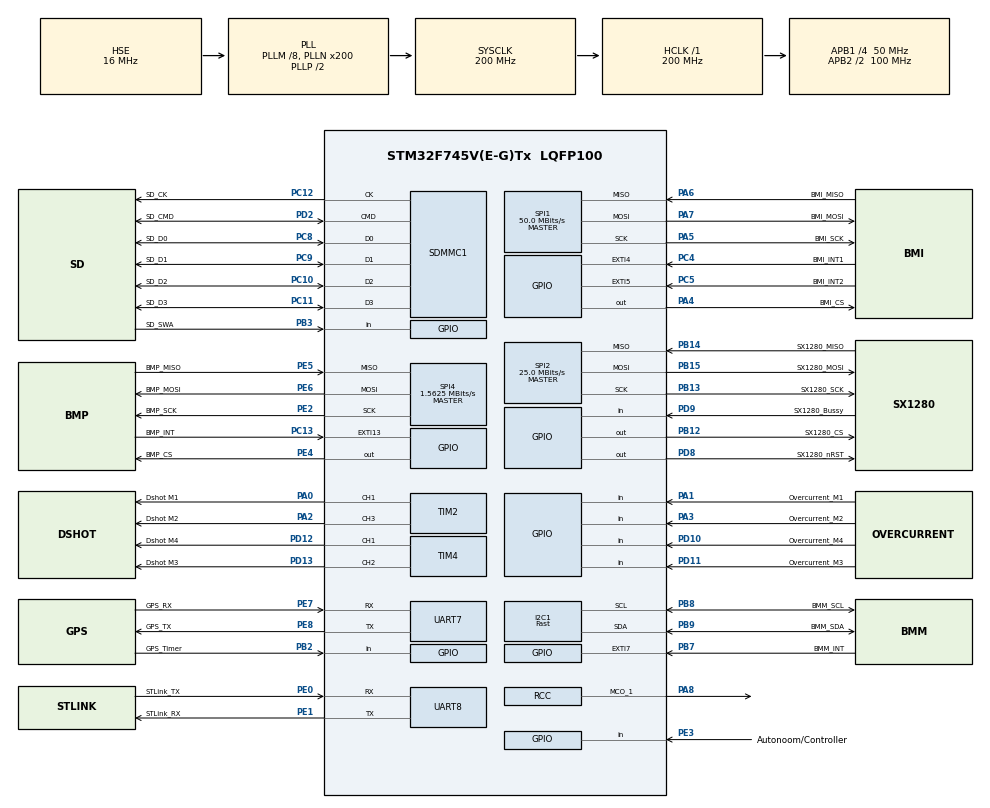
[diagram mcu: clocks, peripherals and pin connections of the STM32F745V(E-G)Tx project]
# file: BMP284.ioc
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CORTEX_M7.default_mode_Activation=1
Dma.Request0=TIM4_CH1
Dma.Request1=TIM4_CH2
Dma.Request2=TIM2_UP/CH3
Dma.Request3=TIM2_CH1
Dma.TIM2_CH1.3.Direction=DMA_MEMORY_TO_PERIPH
Dma.TIM2_CH1.3.FIFOMode=DMA_FIFOMODE_DISABLE
Dma.TIM2_CH1.3.Instance=DMA1_Stream5
Dma.TIM2_CH1.3.MemDataAlignment=DMA_MDATAALIGN_WORD
Dma.TIM2_CH1.3.MemInc=DMA_MINC_ENABLE
Dma.TIM2_CH1.3.Mode=DMA_NORMAL
Dma.TIM2_CH1.3.PeriphDataAlignment=DMA_PDATAALIGN_WORD
Dma.TIM2_CH1.3.PeriphInc=DMA_PINC_DISABLE
Dma.TIM2_CH1.3.Priority=DMA_PRIORITY_VERY_HIGH
Dma.TIM2_UP/CH3.2.Direction=DMA_MEMORY_TO_PERIPH
Dma.TIM2_UP/CH3.2.FIFOMode=DMA_FIFOMODE_DISABLE
Dma.TIM2_UP/CH3.2.Instance=DMA1_Stream1
Dma.TIM2_UP/CH3.2.MemDataAlignment=DMA_MDATAALIGN_WORD
Dma.TIM2_UP/CH3.2.MemInc=DMA_MINC_ENABLE
Dma.TIM2_UP/CH3.2.Mode=DMA_NORMAL
Dma.TIM2_UP/CH3.2.PeriphDataAlignment=DMA_PDATAALIGN_WORD
Dma.TIM2_UP/CH3.2.PeriphInc=DMA_PINC_DISABLE
Dma.TIM2_UP/CH3.2.Priority=DMA_PRIORITY_VERY_HIGH
Dma.TIM4_CH1.0.Direction=DMA_MEMORY_TO_PERIPH
Dma.TIM4_CH1.0.FIFOMode=DMA_FIFOMODE_DISABLE
Dma.TIM4_CH1.0.Instance=DMA1_Stream0
Dma.TIM4_CH1.0.MemDataAlignment=DMA_MDATAALIGN_HALFWORD
Dma.TIM4_CH1.0.MemInc=DMA_MINC_ENABLE
Dma.TIM4_CH1.0.Mode=DMA_NORMAL
Dma.TIM4_CH1.0.PeriphDataAlignment=DMA_PDATAALIGN_HALFWORD
Dma.TIM4_CH1.0.PeriphInc=DMA_PINC_DISABLE
Dma.TIM4_CH1.0.Priority=DMA_PRIORITY_VERY_HIGH
Dma.TIM4_CH2.1.Direction=DMA_MEMORY_TO_PERIPH
Dma.TIM4_CH2.1.FIFOMode=DMA_FIFOMODE_DISABLE
Dma.TIM4_CH2.1.Instance=DMA1_Stream3
Dma.TIM4_CH2.1.MemDataAlignment=DMA_MDATAALIGN_HALFWORD
Dma.TIM4_CH2.1.MemInc=DMA_MINC_ENABLE
Dma.TIM4_CH2.1.Mode=DMA_NORMAL
Dma.TIM4_CH2.1.PeriphDataAlignment=DMA_PDATAALIGN_HALFWORD
Dma.TIM4_CH2.1.PeriphInc=DMA_PINC_DISABLE
Dma.TIM4_CH2.1.Priority=DMA_PRIORITY_VERY_HIGH
FATFS.BSP.number=1
FATFS0.BSP.STBoard=false
FATFS0.BSP.api=Unknown
FATFS0.BSP.instance=PB3
FATFS0.BSP.ip=GPIO
FATFS0.BSP.mode=Input
FATFS0.BSP.name=Detect_SDIO
FATFS0.BSP.solution=PB3
I2C1.I2C_Speed_Mode=I2C_Fast
I2C1.Timing=0x00401959
Mcu.Family=STM32F7
Mcu.Name=STM32F745V(E-G)Tx
Mcu.Package=LQFP100
NVIC.DMA1_Stream0_IRQn=true\:0\:0\:false\:false\:true\:false\:true\:true
NVIC.DMA1_Stream1_IRQn=true\:0\:0\:false\:false\:true\:false\:true\:true
NVIC.DMA1_Stream3_IRQn=true\:0\:0\:false\:false\:true\:false\:true\:true
NVIC.DMA1_Stream5_IRQn=true\:0\:0\:false\:false\:true\:false\:true\:true
NVIC.EXTI15_10_IRQn=true\:0\:0\:false\:false\:true\:true\:true\:true
NVIC.EXTI4_IRQn=true\:3\:0\:true\:false\:true\:true\:true\:true
NVIC.EXTI9_5_IRQn=true\:3\:0\:true\:false\:true\:true\:true\:true
NVIC.PriorityGroup=NVIC_PRIORITYGROUP_4
PA0/WKUP.GPIO_Label=Dshot M1
PA0/WKUP.Signal=S_TIM2_CH1_ETR
PA1.GPIO_Label=Overcurrent_M1
PA1.Signal=GPIO_Input
PA13.GPIO_Label=STLink_DIO
PA13.Mode=Serial_Wire
PA13.Signal=SYS_JTMS-SWDIO
PA14.GPIO_Label=STLink_CLK
PA14.Mode=Serial_Wire
PA14.Signal=SYS_JTCK-SWCLK
PA2.GPIO_Label=Dshot M2
PA2.Signal=S_TIM2_CH3
PA3.GPIO_Label=Overcurrent_M2
PA3.Signal=GPIO_Input
PA4.GPIO_Label=BMI_CS
PA4.Signal=GPIO_Output
PA5.GPIO_Label=BMI_SCK
PA5.Mode=Full_Duplex_Master
PA5.Signal=SPI1_SCK
PA6.GPIO_Label=BMI_MISO
PA6.Mode=Full_Duplex_Master
PA6.Signal=SPI1_MISO
PA7.GPIO_Label=BMI_MOSI
PA7.Mode=Full_Duplex_Master
PA7.Signal=SPI1_MOSI
PA8.Mode=Clock-out-1
PA8.Signal=RCC_MCO_1
PB12.GPIO_Label=SX1280_CS
PB12.Signal=GPIO_Output
PB13.GPIO_Label=SX1280_SCK
PB13.Mode=Full_Duplex_Master
PB13.Signal=SPI2_SCK
PB14.GPIO_Label=SX1280_MISO
PB14.Mode=Full_Duplex_Master
PB14.Signal=SPI2_MISO
PB15.GPIO_Label=SX1280_MOSI
PB15.Mode=Full_Duplex_Master
PB15.Signal=SPI2_MOSI
PB2.GPIO_Label=GPS_Timer
PB2.Signal=GPIO_Input
PB3.GPIO_Label=SD_SWA
PB3.Signal=GPIO_Input
PB7.GPIO_Label=BMM_INT
PB7.Signal=GPXTI7
PB8.GPIO_Label=BMM_SCL
PB8.Mode=I2C
PB8.Signal=I2C1_SCL
PB9.GPIO_Label=BMM_SDA
PB9.Mode=I2C
PB9.Signal=I2C1_SDA
PC10.GPIO_Label=SD_D2
PC10.Mode=SD_4_bits_Wide_bus
PC10.Signal=SDMMC1_D2
PC11.GPIO_Label=SD_D3
PC11.Mode=SD_4_bits_Wide_bus
PC11.Signal=SDMMC1_D3
PC12.GPIO_Label=SD_CK
PC12.Mode=SD_4_bits_Wide_bus
PC12.Signal=SDMMC1_CK
PC13.GPIO_Label=BMP_INT
PC13.Signal=GPXTI13
PC14/OSC32_IN.Mode=LSE-External-Oscillator
PC14/OSC32_IN.Signal=RCC_OSC32_IN
PC15/OSC32_OUT.Mode=LSE-External-Oscillator
PC15/OSC32_OUT.Signal=RCC_OSC32_OUT
PC4.GPIO_Label=BMI_INT1
PC4.Signal=GPXTI4
PC5.GPIO_Label=BMI_INT2
PC5.Signal=GPXTI5
PC8.GPIO_Label=SD_D0
PC8.Mode=SD_4_bits_Wide_bus
PC8.Signal=SDMMC1_D0
PC9.GPIO_Label=SD_D1
PC9.Mode=SD_4_bits_Wide_bus
PC9.Signal=SDMMC1_D1
PD10.GPIO_Label=Overcurrent_M4
PD10.Signal=GPIO_Input
PD11.GPIO_Label=Overcurrent_M3
PD11.Signal=GPIO_Input
PD12.GPIO_Label=Dshot M4
PD12.Signal=S_TIM4_CH1
PD13.GPIO_Label=Dshot M3
PD13.Signal=S_TIM4_CH2
PD2.GPIO_Label=SD_CMD
PD2.Mode=SD_4_bits_Wide_bus
PD2.Signal=SDMMC1_CMD
PD8.GPIO_Label=SX1280_nRST
PD8.Signal=GPIO_Output
PD9.GPIO_Label=SX1280_Bussy
PD9.Signal=GPIO_Input
PE0.GPIO_Label=STLink_TX
PE0.Mode=Asynchronous
PE0.Signal=UART8_RX
PE1.GPIO_Label=STLink_RX
PE1.Mode=Asynchronous
PE1.Signal=UART8_TX
PE2.GPIO_Label=BMP_SCK
PE2.Mode=Full_Duplex_Master
PE2.Signal=SPI4_SCK
PE3.GPIO_Label=Autonoom/Controller
PE3.Signal=GPIO_Input
PE4.GPIO_Label=BMP_CS
PE4.Signal=GPIO_Output
PE5.GPIO_Label=BMP_MISO
PE5.Mode=Full_Duplex_Master
PE5.Signal=SPI4_MISO
PE6.GPIO_Label=BMP_MOSI
PE6.Mode=Full_Duplex_Master
PE6.Signal=SPI4_MOSI
PE7.GPIO_Label=GPS_RX
PE7.Mode=Asynchronous
PE7.Signal=UART7_RX
PE8.GPIO_Label=GPS_TX
PE8.Mode=Asynchronous
PE8.Signal=UART7_TX
PH0/OSC_IN.Mode=HSE-External-Oscillator
PH0/OSC_IN.Signal=RCC_OSC_IN
PH1/OSC_OUT.Mode=HSE-External-Oscillator
PH1/OSC_OUT.Signal=RCC_OSC_OUT
ProjectManager.HeapSize=0x200
ProjectManager.StackSize=0x400
ProjectManager.TargetToolchain=STM32CubeIDE
RCC.AHBFreq_Value=200000000
RCC.APB1CLKDivider=RCC_HCLK_DIV4
RCC.APB1Freq_Value=50000000
RCC.APB1TimFreq_Value=100000000
RCC.APB2CLKDivider=RCC_HCLK_DIV2
RCC.APB2Freq_Value=100000000
RCC.APB2TimFreq_Value=200000000
RCC.CortexFreq_Value=200000000
RCC.HCLKFreq_Value=200000000
RCC.HSE_VALUE=16000000
RCC.HSI_VALUE=16000000
RCC.PLLM=8
RCC.PLLN=200
RCC.PLLQ=8
RCC.PLLSourceVirtual=RCC_PLLSOURCE_HSE
RCC.SDMMCClockSelection=RCC_SDMMC1CLKSOURCE_CLK48
RCC.SYSCLKFreq_VALUE=200000000
RCC.SYSCLKSource=RCC_SYSCLKSOURCE_PLLCLK
RCC.USBFreq_Value=50000000
RCC.VCOOutputFreq_Value=400000000
SDMMC1.ClockBypass=SDMMC_CLOCK_BYPASS_DISABLE
SH.S_TIM2_CH1_ETR.0=TIM2_CH1,PWM Generation1 CH1
SH.S_TIM2_CH3.0=TIM2_CH3,PWM Generation3 CH3
SH.S_TIM4_CH1.0=TIM4_CH1,PWM Generation1 CH1
SH.S_TIM4_CH2.0=TIM4_CH2,PWM Generation2 CH2
SPI1.CLKPhase=SPI_PHASE_2EDGE
SPI1.CLKPolarity=SPI_POLARITY_HIGH
SPI1.CalculateBaudRate=50.0 MBits/s
SPI1.DataSize=SPI_DATASIZE_8BIT
SPI1.Direction=SPI_DIRECTION_2LINES
SPI1.Mode=SPI_MODE_MASTER
SPI1.VirtualType=VM_MASTER
SPI2.BaudRatePrescaler=SPI_BAUDRATEPRESCALER_2
SPI2.CalculateBaudRate=25.0 MBits/s
SPI2.DataSize=SPI_DATASIZE_8BIT
SPI2.Direction=SPI_DIRECTION_2LINES
SPI2.Mode=SPI_MODE_MASTER
SPI2.NSSPMode=SPI_NSS_PULSE_DISABLE
SPI2.VirtualType=VM_MASTER
SPI4.BaudRatePrescaler=SPI_BAUDRATEPRESCALER_64
SPI4.CLKPhase=SPI_PHASE_1EDGE
SPI4.CLKPolarity=SPI_POLARITY_LOW
SPI4.CalculateBaudRate=1.5625 MBits/s
SPI4.DataSize=SPI_DATASIZE_8BIT
SPI4.Direction=SPI_DIRECTION_2LINES
SPI4.Mode=SPI_MODE_MASTER
SPI4.VirtualType=VM_MASTER
TIM2.Channel-PWM\ Generation1\ CH1=TIM_CHANNEL_1
TIM2.Channel-PWM\ Generation3\ CH3=TIM_CHANNEL_3
TIM4.Channel-PWM\ Generation1\ CH1=TIM_CHANNEL_1
TIM4.Channel-PWM\ Generation2\ CH2=TIM_CHANNEL_2
UART8.SwapParam=UART_ADVFEATURE_SWAP_ENABLE
VP_FATFS_VS_SDIO.Mode=SDIO
board=custom

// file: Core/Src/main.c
/* USER CODE BEGIN Header */
/**
  ******************************************************************************
  * @file           : main.c
  * @brief          : Main program body
  ******************************************************************************
  * @attention
  *
  * Copyright (c) 2026 STMicroelectronics.
  * All rights reserved.
  *
  * This software is licensed under terms that can be found in the LICENSE file
  * in the root directory of this software component.
  * If no LICENSE file comes with this software, it is provided AS-IS.
  *
  ******************************************************************************
  */
/* USER CODE END Header */
#include "main.h"
#include "fatfs.h"

/* USER CODE BEGIN Includes */
#include "stdio.h"
//#include "BMP384.h"
//#include "BMM350.h"
//#include "BMI330.h"
//#include "pid_regulator.h"
#include "Flightrun.h"
#include "sdcard.h"
#include "flightplan.h"         /* lezen wat er op een bestand staat  */
#include "flightplan_write.h"   /* een bestand maken en beschrijven   */
/* USER CODE END Includes */

I2C_HandleTypeDef hi2c1;

SD_HandleTypeDef hsd1;

SPI_HandleTypeDef hspi1;
SPI_HandleTypeDef hspi2;
SPI_HandleTypeDef hspi4;

TIM_HandleTypeDef htim2;
TIM_HandleTypeDef htim4;
DMA_HandleTypeDef hdma_tim2_up_ch3;
DMA_HandleTypeDef hdma_tim2_ch1;
DMA_HandleTypeDef hdma_tim4_ch1;
DMA_HandleTypeDef hdma_tim4_ch2;

UART_HandleTypeDef huart7;
UART_HandleTypeDef huart8;

/* USER CODE BEGIN PV */
//BMP384_Calib calibData;
/*
PID_Handle_t struct_PidRateRoll;
PID_Handle_t struct_PidRatePitch;
PID_Handle_t struct_PidRateYaw;
BMM350_MagData BMM350_Data;
BMI330_Frame current_data;
*/

float g_hoogte;
float g_druk;
float g_hoek;
int g_acc;
int g_gyr;
float alpha = 0.98; // hoe hoger hoe meer de acc gaat doortellen
float dt = 0.02;   // voor 50hz
float gefilterde_hoogte = 0;
float verticale_snelheid = 0;
/* USER CODE END PV */

void SystemClock_Config(void);
static void MPU_Config(void);
static void MX_GPIO_Init(void);
static void MX_DMA_Init(void);
static void MX_I2C1_Init(void);
static void MX_SDMMC1_SD_Init(void);
static void MX_SPI1_Init(void);
static void MX_SPI2_Init(void);
static void MX_SPI4_Init(void);
static void MX_TIM2_Init(void);
static void MX_TIM4_Init(void);
static void MX_UART7_Init(void);
static void MX_UART8_Init(void);
/* USER CODE BEGIN PFP */
static void schrijf_vluchtplan(void);
/* USER CODE END PFP */

/* USER CODE BEGIN 0 */

int g_new_pressure_data = 0;

/* ==========================================================================
 * Vluchtplan: schrijven, uitlezen, vliegen
 *
 * Het plan zelf staat hieronder als FlightCmd_t-array. Zet de drie vlaggen
 * naar wat je nu wil doen.
 * ========================================================================== */

/* 1) SCHRIJVEN. Zet het plan hieronder op de SD-kaart. Na de eerste geslaagde
 *    flash+run mag dit op 0, anders wordt de kaart bij elke boot overschreven. */
#define WRITE_FLIGHTPLAN_TO_SD  1

/* 2) UITLEZEN. Leest het plan terug van de kaart en print het genummerd over
 *    UART8, met validatie. Zo zie je precies wat de drone gaat doen. Laat dit
 *    gerust op 1 staan, het kost alleen wat opstarttijd. */
#define DUMP_FLIGHTPLAN_FROM_SD 1

/* 3) VLIEGEN. Op 0 doet het bord alleen schrijven en uitlezen, en blijven de
 *    motoren gegarandeerd uit: FlightControl_Init() armt de ESC's dan nooit.
 *    Zo test je de hele SD-keten veilig. Zet dit pas op 1 als de dump hierboven
 *    er goed uitziet, en dan nog eerst zonder propellers. */
#define RUN_FLIGHTPLAN          0

/* Print bij het uitlezen ook de ruwe bytes van het bestand, zodat je ziet dat
 * er echt iets op de kaart staat en niet alleen in RAM. */
#define DUMP_FLIGHTPLAN_RAW     1

/* --------------------------------------------------------------------------
 * Het vluchtplan
 *
 * Throttle <procent 0-100> <ms>   0 % = THROTTLE_MIN, 100 % = THROTTLE_MAX
 * Hover    <ms>                   houdt de huidige throttle aan
 * Left     <ms>                   kantelt LEFT_RIGHT_TILT_DEG naar links
 * Right    <ms>                   idem naar rechts
 * Land                            bouwt de throttle af en zet de motoren uit
 *
 * RelativeHeight / AbsoluteHeight / Move worden wel geschreven en ingelezen,
 * maar flightcontrol.c slaat ze nog over: die hebben de barometer en GPS nodig.
 *
 * TEST DIT EERST ZONDER PROPELLERS, of met het frame vastgezet op een
 * teststaaf. FlightControl_Init() kalibreert de gyro en het level: het frame
 * moet dan stil en waterpas liggen (volg de printf's over UART8).
 * -------------------------------------------------------------------------- */
static const FlightCmd_t mijn_plan[] = {
    { CMD_THROTTLE, { 30.0f, 2000.0f, 0.0f } },   /* rustig aanlopen            */
    { CMD_THROTTLE, { 40.0f, 3000.0f, 0.0f } },   /* ~THROTTLE_BASE             */
    { CMD_LEFT,     { 1000.0f, 0.0f, 0.0f } },    /* kantelrichting controleren */
    { CMD_RIGHT,    { 1000.0f, 0.0f, 0.0f } },
    { CMD_THROTTLE, { 35.0f, 1500.0f, 0.0f } },   /* rustig voor de landing     */
    { CMD_LAND,     { 0.0f, 0.0f, 0.0f } },
};

/* Maakt het bestand aan op de kaart en schrijft het plan hierboven erin.
 * FlightPlan_Save valideert eerst, dus een fout plan raakt de kaart niet, en
 * leest daarna byte voor byte terug of er echt staat wat we bedoelden.
 *
 * Wil je meerdere plannen op de kaart, zet er dan een tweede array naast en
 * roep FlightPlan_Save nog een keer aan met een andere bestandsnaam. Houd die
 * naam op 8.3 (max 8 tekens voor de punt): met de standaardinstelling van
 * FATFS staan lange bestandsnamen uit. */
static void schrijf_vluchtplan(void)
{
    if (SDCard_Mount() != SDCARD_OK) {
        printf("kon de SD-kaart niet mounten, er is niets geschreven\n");
        return;
    }
    FlightPlan_Save(mijn_plan, FLIGHTPLAN_AANTAL(mijn_plan), FLIGHTPLAN_ACTIVE_FILE);
    SDCard_Unmount();
}

int _write(int file, char *ptr, int len) {
	for(int i = 0; i < len; i++){
		if(ptr[i]=='\n'){
			HAL_UART_Transmit(&huart8, (uint8_t*)"\r", 1, HAL_MAX_DELAY);
		}
		HAL_UART_Transmit(&huart8, (uint8_t*)&ptr[i], 1, HAL_MAX_DELAY);
	}
    return len;
}
/*
void Update_Altitude_Filter(float baro_hoogte, float acc_z_m_s2) {
    verticale_snelheid += acc_z_m_s2 * dt;
    float voorspelde_hoogte = gefilterde_hoogte + (verticale_snelheid * dt);
    gefilterde_hoogte = (alpha * voorspelde_hoogte) + ((1 - alpha) * baro_hoogte);
}
*/
/* USER CODE END 0 */

int main(void)
{

  /* MPU Configuration--------------------------------------------------------*/
  MPU_Config();

  /* MCU Configuration--------------------------------------------------------*/

  /* Reset of all peripherals, Initializes the Flash interface and the Systick. */
  HAL_Init();

  /* USER CODE BEGIN Init */
 /* Init_RateLoops();
  BMM350_Init();
  PID_HandleInit(struct_PidRateRoll);
  PID_HandleInit(struct_PidRatePitch);
  PID_HandleInit(struct_PidRateYaw);
  */
  //BMI330_Init();
  /* USER CODE END Init */

  /* Configure the system clock */
  SystemClock_Config();

  /* Initialize all configured peripherals */
  MX_GPIO_Init();
  MX_DMA_Init();
  MX_I2C1_Init();
  MX_SDMMC1_SD_Init();
  MX_SPI1_Init();
  MX_SPI2_Init();
  MX_SPI4_Init();
  MX_TIM2_Init();
  MX_TIM4_Init();
  MX_UART7_Init();
  MX_FATFS_Init();
  MX_UART8_Init();
  /* USER CODE BEGIN 2 */

  /* ---- UART-CHECK ----------------------------------------------------------
   * Gaat rechtstreeks naar UART8, zonder printf, zonder newlib, zonder SD-kaart.
   * Dit is het allereerste wat er gebeurt na de peripheral-init.
   *
   *   zie je dit WEL maar de rest niet -> probleem zit in printf of in de code erna
   *   zie je dit NIET                   -> bedrading, baudrate of COM-poort
   *
   * Stond op 1 tijdens het zoeken naar de stille UART (bleek de RX/TX-swap te
   * zijn). Zet hem terug op 1 als je ooit weer niets binnenkrijgt: hij kost
   * 2 seconden bij het opstarten en zegt je meteen of de lijn zelf goed zit. */
#define UART_CHECK 0
#if UART_CHECK
  for (int i = 0; i < 10; i++) {
      HAL_UART_Transmit(&huart8, (uint8_t *)"UART8 werkt\r\n", 13, HAL_MAX_DELAY);
      HAL_Delay(200);
  }
#endif

  /* printf niet laten bufferen: elke regel gaat meteen de lijn op, ook als het
   * bord daarna vastloopt of in een failsafe belandt. */
  setvbuf(stdout, NULL, _IONBF, 0);

  //BMP384_Init(&calibData);

  printf("\n\n===== opgestart, vluchtplan-test =====\n");

#if WRITE_FLIGHTPLAN_TO_SD
  /* SCHRIJVEN: het plan uit mijn_plan[] -> SD-kaart, met validatie en
   * terugleescontrole. Zie schrijf_vluchtplan() hierboven. */
  printf("\n[1] SCHRIJVEN\n");
  schrijf_vluchtplan();
#endif

#if DUMP_FLIGHTPLAN_FROM_SD
  /* UITLEZEN: SD-kaart -> RAM -> genummerd over UART8, met validatie. Staat
   * DUMP_FLIGHTPLAN_RAW op 1, dan komen ook de ruwe bytes van het bestand
   * voorbij. FlightPlan_Show mount en unmount zelf. */
  printf("\n[2] UITLEZEN EN CONTROLEREN\n");
  FlightPlan_Show(FLIGHTPLAN_ACTIVE_FILE, DUMP_FLIGHTPLAN_RAW);
#endif

#if RUN_FLIGHTPLAN
  FlightRun_Execute(); // mount SD, laadt het plan, initialiseert PID/MPU6050 en voert het uit
#else
  printf("RUN_FLIGHTPLAN staat op 0: motoren blijven uit, er wordt niet gevlogen\n");
#endif
  /* USER CODE END 2 */

  /* Infinite loop */
  /* USER CODE BEGIN WHILE */
  while (1)
  {
	  //float pressure_pa = BMP384_ReadData(&calibData); // in pascal
	  	//	  float hoogte = BMP384_CalculateAltitude(pressure_pa);
	  		//  float temp = BMP384_GetTemp(&calibData);
	  		  //printf("BMP284:\r\n De druk(pa) = %f\nDe hoogte(m) = %f, De temp = %f\n", pressure_pa, hoogte, temp);
	  //if(g_new_pressure_data == 1){
		//  float pressure_pa = BMP384_ReadData(&calibData); // in pascal
		  //float hoogte = BMP384_CalculateAltitude(pressure_pa);
		  //float temp = BMP384_GetTemp(&calibData);
		  //printf("BMP284:\r\n De druk(pa) = %f\nDe hoogte(m) = %f, De temp = %f\n", pressure_pa, hoogte, temp);
		 // printf("BMP284:\r\n De druk(pa) = %f\n", pressure_pa);
		//  g_new_pressure_data = 0;
	  //}
    /* USER CODE END WHILE */

  }
}

void SystemClock_Config(void)
{
  RCC_OscInitTypeDef RCC_OscInitStruct = {0};
  RCC_ClkInitTypeDef RCC_ClkInitStruct = {0};

  /** Configure LSE Drive Capability
  */
  HAL_PWR_EnableBkUpAccess();

  /** Configure the main internal regulator output voltage
  */
  __HAL_RCC_PWR_CLK_ENABLE();
  __HAL_PWR_VOLTAGESCALING_CONFIG(PWR_REGULATOR_VOLTAGE_SCALE1);

  /** Initializes the RCC Oscillators according to the specified parameters
  * in the RCC_OscInitTypeDef structure.
  */
  RCC_OscInitStruct.OscillatorType = RCC_OSCILLATORTYPE_HSI|RCC_OSCILLATORTYPE_HSE;
  RCC_OscInitStruct.HSEState = RCC_HSE_ON;
  RCC_OscInitStruct.HSIState = RCC_HSI_ON;
  RCC_OscInitStruct.HSICalibrationValue = RCC_HSICALIBRATION_DEFAULT;
  RCC_OscInitStruct.PLL.PLLState = RCC_PLL_ON;
  RCC_OscInitStruct.PLL.PLLSource = RCC_PLLSOURCE_HSE;
  RCC_OscInitStruct.PLL.PLLM = 8;
  RCC_OscInitStruct.PLL.PLLN = 200;
  RCC_OscInitStruct.PLL.PLLP = RCC_PLLP_DIV2;
  RCC_OscInitStruct.PLL.PLLQ = 8;
  if (HAL_RCC_OscConfig(&RCC_OscInitStruct) != HAL_OK)
  {
    Error_Handler();
  }

  /** Activate the Over-Drive mode
  */
  if (HAL_PWREx_EnableOverDrive() != HAL_OK)
  {
    Error_Handler();
  }

  /** Initializes the CPU, AHB and APB buses clocks
  */
  RCC_ClkInitStruct.ClockType = RCC_CLOCKTYPE_HCLK|RCC_CLOCKTYPE_SYSCLK
                              |RCC_CLOCKTYPE_PCLK1|RCC_CLOCKTYPE_PCLK2;
  RCC_ClkInitStruct.SYSCLKSource = RCC_SYSCLKSOURCE_PLLCLK;
  RCC_ClkInitStruct.AHBCLKDivider = RCC_SYSCLK_DIV1;
  RCC_ClkInitStruct.APB1CLKDivider = RCC_HCLK_DIV4;
  RCC_ClkInitStruct.APB2CLKDivider = RCC_HCLK_DIV2;

  if (HAL_RCC_ClockConfig(&RCC_ClkInitStruct, FLASH_LATENCY_6) != HAL_OK)
  {
    Error_Handler();
  }
  HAL_RCC_MCOConfig(RCC_MCO1, RCC_MCO1SOURCE_HSI, RCC_MCODIV_1);
}

static void MX_I2C1_Init(void)
{

  hi2c1.Instance = I2C1;
  hi2c1.Init.Timing = 0x00401959;
  hi2c1.Init.OwnAddress1 = 0;
  hi2c1.Init.AddressingMode = I2C_ADDRESSINGMODE_7BIT;
  hi2c1.Init.DualAddressMode = I2C_DUALADDRESS_DISABLE;
  hi2c1.Init.OwnAddress2 = 0;
  hi2c1.Init.OwnAddress2Masks = I2C_OA2_NOMASK;
  hi2c1.Init.GeneralCallMode = I2C_GENERALCALL_DISABLE;
  hi2c1.Init.NoStretchMode = I2C_NOSTRETCH_DISABLE;
  if (HAL_I2C_Init(&hi2c1) != HAL_OK)
  {
    Error_Handler();
  }

  /** Configure Analogue filter
  */
  if (HAL_I2CEx_ConfigAnalogFilter(&hi2c1, I2C_ANALOGFILTER_ENABLE) != HAL_OK)
  {
    Error_Handler();
  }

  /** Configure Digital filter
  */
  if (HAL_I2CEx_ConfigDigitalFilter(&hi2c1, 0) != HAL_OK)
  {
    Error_Handler();
  }

}

static void MX_SDMMC1_SD_Init(void)
{

  hsd1.Instance = SDMMC1;
  hsd1.Init.ClockEdge = SDMMC_CLOCK_EDGE_RISING;
  hsd1.Init.ClockBypass = SDMMC_CLOCK_BYPASS_DISABLE;
  hsd1.Init.ClockPowerSave = SDMMC_CLOCK_POWER_SAVE_DISABLE;
  hsd1.Init.BusWide = SDMMC_BUS_WIDE_1B;
  hsd1.Init.HardwareFlowControl = SDMMC_HARDWARE_FLOW_CONTROL_DISABLE;
  hsd1.Init.ClockDiv = 0;

}

static void MX_SPI1_Init(void)
{

  /* SPI1 parameter configuration*/
  hspi1.Instance = SPI1;
  hspi1.Init.Mode = SPI_MODE_MASTER;
  hspi1.Init.Direction = SPI_DIRECTION_2LINES;
  hspi1.Init.DataSize = SPI_DATASIZE_8BIT;
  hspi1.Init.CLKPolarity = SPI_POLARITY_HIGH;
  hspi1.Init.CLKPhase = SPI_PHASE_2EDGE;
  hspi1.Init.NSS = SPI_NSS_SOFT;
  hspi1.Init.BaudRatePrescaler = SPI_BAUDRATEPRESCALER_2;
  hspi1.Init.FirstBit = SPI_FIRSTBIT_MSB;
  hspi1.Init.TIMode = SPI_TIMODE_DISABLE;
  hspi1.Init.CRCCalculation = SPI_CRCCALCULATION_DISABLE;
  hspi1.Init.CRCPolynomial = 7;
  hspi1.Init.CRCLength = SPI_CRC_LENGTH_DATASIZE;
  hspi1.Init.NSSPMode = SPI_NSS_PULSE_DISABLE;
  if (HAL_SPI_Init(&hspi1) != HAL_OK)
  {
    Error_Handler();
  }

}

static void MX_SPI2_Init(void)
{

  /* SPI2 parameter configuration*/
  hspi2.Instance = SPI2;
  hspi2.Init.Mode = SPI_MODE_MASTER;
  hspi2.Init.Direction = SPI_DIRECTION_2LINES;
  hspi2.Init.DataSize = SPI_DATASIZE_8BIT;
  hspi2.Init.CLKPolarity = SPI_POLARITY_LOW;
  hspi2.Init.CLKPhase = SPI_PHASE_1EDGE;
  hspi2.Init.NSS = SPI_NSS_SOFT;
  hspi2.Init.BaudRatePrescaler = SPI_BAUDRATEPRESCALER_2;
  hspi2.Init.FirstBit = SPI_FIRSTBIT_MSB;
  hspi2.Init.TIMode = SPI_TIMODE_DISABLE;
  hspi2.Init.CRCCalculation = SPI_CRCCALCULATION_DISABLE;
  hspi2.Init.CRCPolynomial = 7;
  hspi2.Init.CRCLength = SPI_CRC_LENGTH_DATASIZE;
  hspi2.Init.NSSPMode = SPI_NSS_PULSE_DISABLE;
  if (HAL_SPI_Init(&hspi2) != HAL_OK)
  {
    Error_Handler();
  }

}

static void MX_SPI4_Init(void)
{

  /* SPI4 parameter configuration*/
  hspi4.Instance = SPI4;
  hspi4.Init.Mode = SPI_MODE_MASTER;
  hspi4.Init.Direction = SPI_DIRECTION_2LINES;
  hspi4.Init.DataSize = SPI_DATASIZE_8BIT;
  hspi4.Init.CLKPolarity = SPI_POLARITY_LOW;
  hspi4.Init.CLKPhase = SPI_PHASE_1EDGE;
  hspi4.Init.NSS = SPI_NSS_SOFT;
  hspi4.Init.BaudRatePrescaler = SPI_BAUDRATEPRESCALER_64;
  hspi4.Init.FirstBit = SPI_FIRSTBIT_MSB;
  hspi4.Init.TIMode = SPI_TIMODE_DISABLE;
  hspi4.Init.CRCCalculation = SPI_CRCCALCULATION_DISABLE;
  hspi4.Init.CRCPolynomial = 7;
  hspi4.Init.CRCLength = SPI_CRC_LENGTH_DATASIZE;
  hspi4.Init.NSSPMode = SPI_NSS_PULSE_ENABLE;
  if (HAL_SPI_Init(&hspi4) != HAL_OK)
  {
    Error_Handler();
  }

}

static void MX_TIM2_Init(void)
{

  TIM_MasterConfigTypeDef sMasterConfig = {0};
  TIM_OC_InitTypeDef sConfigOC = {0};

  htim2.Instance = TIM2;
  htim2.Init.Prescaler = 0;
  htim2.Init.CounterMode = TIM_COUNTERMODE_UP;
  htim2.Init.Period = 4294967295;
  htim2.Init.ClockDivision = TIM_CLOCKDIVISION_DIV1;
  htim2.Init.AutoReloadPreload = TIM_AUTORELOAD_PRELOAD_DISABLE;
  if (HAL_TIM_PWM_Init(&htim2) != HAL_OK)
  {
    Error_Handler();
  }
  sMasterConfig.MasterOutputTrigger = TIM_TRGO_RESET;
  sMasterConfig.MasterSlaveMode = TIM_MASTERSLAVEMODE_DISABLE;
  if (HAL_TIMEx_MasterConfigSynchronization(&htim2, &sMasterConfig) != HAL_OK)
  {
    Error_Handler();
  }
  sConfigOC.OCMode = TIM_OCMODE_PWM1;
  sConfigOC.Pulse = 0;
  sConfigOC.OCPolarity = TIM_OCPOLARITY_HIGH;
  sConfigOC.OCFastMode = TIM_OCFAST_DISABLE;
  if (HAL_TIM_PWM_ConfigChannel(&htim2, &sConfigOC, TIM_CHANNEL_1) != HAL_OK)
  {
    Error_Handler();
  }
  if (HAL_TIM_PWM_ConfigChannel(&htim2, &sConfigOC, TIM_CHANNEL_3) != HAL_OK)
  {
    Error_Handler();
  }
  HAL_TIM_MspPostInit(&htim2);

}

static void MX_TIM4_Init(void)
{

  TIM_MasterConfigTypeDef sMasterConfig = {0};
  TIM_OC_InitTypeDef sConfigOC = {0};

  htim4.Instance = TIM4;
  htim4.Init.Prescaler = 0;
  htim4.Init.CounterMode = TIM_COUNTERMODE_UP;
  htim4.Init.Period = 65535;
  htim4.Init.ClockDivision = TIM_CLOCKDIVISION_DIV1;
  htim4.Init.AutoReloadPreload = TIM_AUTORELOAD_PRELOAD_DISABLE;
  if (HAL_TIM_PWM_Init(&htim4) != HAL_OK)
  {
    Error_Handler();
  }
  sMasterConfig.MasterOutputTrigger = TIM_TRGO_RESET;
  sMasterConfig.MasterSlaveMode = TIM_MASTERSLAVEMODE_DISABLE;
  if (HAL_TIMEx_MasterConfigSynchronization(&htim4, &sMasterConfig) != HAL_OK)
  {
    Error_Handler();
  }
  sConfigOC.OCMode = TIM_OCMODE_PWM1;
  sConfigOC.Pulse = 0;
  sConfigOC.OCPolarity = TIM_OCPOLARITY_HIGH;
  sConfigOC.OCFastMode = TIM_OCFAST_DISABLE;
  if (HAL_TIM_PWM_ConfigChannel(&htim4, &sConfigOC, TIM_CHANNEL_1) != HAL_OK)
  {
    Error_Handler();
  }
  if (HAL_TIM_PWM_ConfigChannel(&htim4, &sConfigOC, TIM_CHANNEL_2) != HAL_OK)
  {
    Error_Handler();
  }
  HAL_TIM_MspPostInit(&htim4);

}

static void MX_UART7_Init(void)
{

  huart7.Instance = UART7;
  huart7.Init.BaudRate = 115200;
  huart7.Init.WordLength = UART_WORDLENGTH_8B;
  huart7.Init.StopBits = UART_STOPBITS_1;
  huart7.Init.Parity = UART_PARITY_NONE;
  huart7.Init.Mode = UART_MODE_TX_RX;
  huart7.Init.HwFlowCtl = UART_HWCONTROL_NONE;
  huart7.Init.OverSampling = UART_OVERSAMPLING_16;
  huart7.Init.OneBitSampling = UART_ONE_BIT_SAMPLE_DISABLE;
  huart7.AdvancedInit.AdvFeatureInit = UART_ADVFEATURE_NO_INIT;
  if (HAL_UART_Init(&huart7) != HAL_OK)
  {
    Error_Handler();
  }

}

static void MX_UART8_Init(void)
{

  huart8.Instance = UART8;
  huart8.Init.BaudRate = 115200;
  huart8.Init.WordLength = UART_WORDLENGTH_8B;
  huart8.Init.StopBits = UART_STOPBITS_1;
  huart8.Init.Parity = UART_PARITY_NONE;
  huart8.Init.Mode = UART_MODE_TX_RX;
  huart8.Init.HwFlowCtl = UART_HWCONTROL_NONE;
  huart8.Init.OverSampling = UART_OVERSAMPLING_16;
  huart8.Init.OneBitSampling = UART_ONE_BIT_SAMPLE_DISABLE;
  huart8.AdvancedInit.AdvFeatureInit = UART_ADVFEATURE_SWAP_INIT;
  huart8.AdvancedInit.Swap = UART_ADVFEATURE_SWAP_ENABLE;
  if (HAL_UART_Init(&huart8) != HAL_OK)
  {
    Error_Handler();
  }

}

static void MX_DMA_Init(void)
{

  /* DMA controller clock enable */
  __HAL_RCC_DMA1_CLK_ENABLE();

  /* DMA interrupt init */
  /* DMA1_Stream0_IRQn interrupt configuration */
  HAL_NVIC_SetPriority(DMA1_Stream0_IRQn, 0, 0);
  HAL_NVIC_EnableIRQ(DMA1_Stream0_IRQn);
  /* DMA1_Stream1_IRQn interrupt configuration */
  HAL_NVIC_SetPriority(DMA1_Stream1_IRQn, 0, 0);
  HAL_NVIC_EnableIRQ(DMA1_Stream1_IRQn);
  /* DMA1_Stream3_IRQn interrupt configuration */
  HAL_NVIC_SetPriority(DMA1_Stream3_IRQn, 0, 0);
  HAL_NVIC_EnableIRQ(DMA1_Stream3_IRQn);
  /* DMA1_Stream5_IRQn interrupt configuration */
  HAL_NVIC_SetPriority(DMA1_Stream5_IRQn, 0, 0);
  HAL_NVIC_EnableIRQ(DMA1_Stream5_IRQn);

}

static void MX_GPIO_Init(void)
{
  GPIO_InitTypeDef GPIO_InitStruct = {0};

  /* GPIO Ports Clock Enable */
  __HAL_RCC_GPIOE_CLK_ENABLE();
  __HAL_RCC_GPIOC_CLK_ENABLE();
  __HAL_RCC_GPIOH_CLK_ENABLE();
  __HAL_RCC_GPIOA_CLK_ENABLE();
  __HAL_RCC_GPIOB_CLK_ENABLE();
  __HAL_RCC_GPIOD_CLK_ENABLE();

  /*Configure GPIO pin Output Level */
  HAL_GPIO_WritePin(BMP_CS_GPIO_Port, BMP_CS_Pin, GPIO_PIN_RESET);

  /*Configure GPIO pin Output Level */
  HAL_GPIO_WritePin(BMI_CS_GPIO_Port, BMI_CS_Pin, GPIO_PIN_RESET);

  /*Configure GPIO pin Output Level */
  HAL_GPIO_WritePin(SX1280_CS_GPIO_Port, SX1280_CS_Pin, GPIO_PIN_RESET);

  /*Configure GPIO pin Output Level */
  HAL_GPIO_WritePin(SX1280_nRST_GPIO_Port, SX1280_nRST_Pin, GPIO_PIN_RESET);

  /*Configure GPIO pin : Autonoom_Controller_Pin */
  GPIO_InitStruct.Pin = Autonoom_Controller_Pin;
  GPIO_InitStruct.Mode = GPIO_MODE_INPUT;
  GPIO_InitStruct.Pull = GPIO_NOPULL;
  HAL_GPIO_Init(Autonoom_Controller_GPIO_Port, &GPIO_InitStruct);

  /*Configure GPIO pin : BMP_CS_Pin */
  GPIO_InitStruct.Pin = BMP_CS_Pin;
  GPIO_InitStruct.Mode = GPIO_MODE_OUTPUT_PP;
  GPIO_InitStruct.Pull = GPIO_NOPULL;
  GPIO_InitStruct.Speed = GPIO_SPEED_FREQ_LOW;
  HAL_GPIO_Init(BMP_CS_GPIO_Port, &GPIO_InitStruct);

  /*Configure GPIO pins : BMP_INT_Pin BMI_INT1_Pin BMI_INT2_Pin */
  GPIO_InitStruct.Pin = BMP_INT_Pin|BMI_INT1_Pin|BMI_INT2_Pin;
  GPIO_InitStruct.Mode = GPIO_MODE_IT_RISING;
  GPIO_InitStruct.Pull = GPIO_NOPULL;
  HAL_GPIO_Init(GPIOC, &GPIO_InitStruct);

  /*Configure GPIO pins : Overcurrent_M1_Pin Overcurrent_M2_Pin */
  GPIO_InitStruct.Pin = Overcurrent_M1_Pin|Overcurrent_M2_Pin;
  GPIO_InitStruct.Mode = GPIO_MODE_INPUT;
  GPIO_InitStruct.Pull = GPIO_NOPULL;
  HAL_GPIO_Init(GPIOA, &GPIO_InitStruct);

  /*Configure GPIO pin : BMI_CS_Pin */
  GPIO_InitStruct.Pin = BMI_CS_Pin;
  GPIO_InitStruct.Mode = GPIO_MODE_OUTPUT_PP;
  GPIO_InitStruct.Pull = GPIO_NOPULL;
  GPIO_InitStruct.Speed = GPIO_SPEED_FREQ_LOW;
  HAL_GPIO_Init(BMI_CS_GPIO_Port, &GPIO_InitStruct);

  /*Configure GPIO pins : GPS_Timer_Pin SD_SWA_Pin */
  GPIO_InitStruct.Pin = GPS_Timer_Pin|SD_SWA_Pin;
  GPIO_InitStruct.Mode = GPIO_MODE_INPUT;
  GPIO_InitStruct.Pull = GPIO_NOPULL;
  HAL_GPIO_Init(GPIOB, &GPIO_InitStruct);

  /*Configure GPIO pin : SX1280_CS_Pin */
  GPIO_InitStruct.Pin = SX1280_CS_Pin;
  GPIO_InitStruct.Mode = GPIO_MODE_OUTPUT_PP;
  GPIO_InitStruct.Pull = GPIO_NOPULL;
  GPIO_InitStruct.Speed = GPIO_SPEED_FREQ_LOW;
  HAL_GPIO_Init(SX1280_CS_GPIO_Port, &GPIO_InitStruct);

  /*Configure GPIO pin : SX1280_nRST_Pin */
  GPIO_InitStruct.Pin = SX1280_nRST_Pin;
  GPIO_InitStruct.Mode = GPIO_MODE_OUTPUT_PP;
  GPIO_InitStruct.Pull = GPIO_NOPULL;
  GPIO_InitStruct.Speed = GPIO_SPEED_FREQ_LOW;
  HAL_GPIO_Init(SX1280_nRST_GPIO_Port, &GPIO_InitStruct);

  /*Configure GPIO pins : SX1280_Bussy_Pin Overcurrent_M4_Pin Overcurrent_M3_Pin */
  GPIO_InitStruct.Pin = SX1280_Bussy_Pin|Overcurrent_M4_Pin|Overcurrent_M3_Pin;
  GPIO_InitStruct.Mode = GPIO_MODE_INPUT;
  GPIO_InitStruct.Pull = GPIO_NOPULL;
  HAL_GPIO_Init(GPIOD, &GPIO_InitStruct);

  /*Configure GPIO pin : PA8 */
  GPIO_InitStruct.Pin = GPIO_PIN_8;
  GPIO_InitStruct.Mode = GPIO_MODE_AF_PP;
  GPIO_InitStruct.Pull = GPIO_NOPULL;
  GPIO_InitStruct.Speed = GPIO_SPEED_FREQ_LOW;
  GPIO_InitStruct.Alternate = GPIO_AF0_MCO;
  HAL_GPIO_Init(GPIOA, &GPIO_InitStruct);

  /*Configure GPIO pin : BMM_INT_Pin */
  GPIO_InitStruct.Pin = BMM_INT_Pin;
  GPIO_InitStruct.Mode = GPIO_MODE_IT_RISING;
  GPIO_InitStruct.Pull = GPIO_NOPULL;
  HAL_GPIO_Init(BMM_INT_GPIO_Port, &GPIO_InitStruct);

  /* EXTI interrupt init*/
  HAL_NVIC_SetPriority(EXTI4_IRQn, 3, 0);
  HAL_NVIC_EnableIRQ(EXTI4_IRQn);

  HAL_NVIC_SetPriority(EXTI9_5_IRQn, 3, 0);
  HAL_NVIC_EnableIRQ(EXTI9_5_IRQn);

  HAL_NVIC_SetPriority(EXTI15_10_IRQn, 0, 0);
  HAL_NVIC_EnableIRQ(EXTI15_10_IRQn);

}

/* USER CODE BEGIN 4 */
/*
void Update_Motors(uint16_t throttle, int16_t roll, int16_t pitch, int16_t yaw) {
    int16_t m1 = throttle + pitch + roll - yaw; // Linksvoor
    int16_t m2 = throttle + pitch - roll + yaw; // Rechtsvoor
    int16_t m3 = throttle - pitch + roll + yaw; // Linksachter
    int16_t m4 = throttle - pitch - roll - yaw; // Rechtsachter
}
*/
void HAL_GPIO_EXTI_Callback(uint16_t GPIO_Pin)
{
/*
    if (GPIO_Pin == GPIO_PIN_4)	//INT1 van BMI
    {
    	float data[15];
    	int len = 15;
    	float roll, pitch;
    	BMI330_ReadFIFO(data, len);
    	BMI330_ParseFIFOFrame(&data, &current_data);
    	BMI330_GetAngles(current_data, roll, pitch);

    	printf("Data van de BMI INT1 pin: \n");
    	printf("Gyro data: X = %f, Y = %f, Z = %f \n", current_data->gyr_x, current_data->gyr_y, current_data->gyr_z);
    	printf("acc  data: X = %f, Y = %f, Z = %f \n", current_data->acc_x, current_data->acc_y, current_data->acc_z);
    	printf("temp: %f \n\n\n\n", current_data->sensor_temp);
    	g_temp = current_data->sensor_temp;
    	g_roll = roll;
    	g_pitch = pitch;
    	return;
    }

    if (GPIO_Pin == GPIO_PIN_5)	//INT2 van BMI
    {
    	return;
    }
    if (GPIO_Pin == GPIO_PIN_7)	//INT van BMM350
    {
    	float roll, pitch;
    	BMI330_GetAngles(current_data, &roll, &pitch);
    	BMM350_GetData(&BMM350_Data, roll, pitch);
    	float hoek = BMM350_Data.richting;

    	// calibrate is iets wat we eenmalig moeten doen, hieruit halen we de vaste ofset waardes die we daarna kunnen gebruiken
    	BMM350_Calibrate(BMM350_Data.x, BMM350_Data.y, BMM350_Data.z, BMM350_Data.x_offset, BMM350_Data.y_offset, BMM350_Data.z_offset);
    	printf("BMM350 Data: \n");
    	printf("BMM350 Raw Data: x = %d, Y = %d, Z = %d \n\n", BMM350_Data.x, BMM350_Data.y, BMM350_Data.z);

    	// enkel de laatste offset meting is belangerijk want dan heb je de uiterste bereikt
    	printf("BMM350 offsets Data: x = %d, Y = %d, Z = %d \n\n\n\n", BMM350_Data.x_offset, BMM350_Data.y_offset, BMM350_Data.z_offset);

    	g_hoek = hoek;
    	return;
    }
    if (GPIO_Pin == GPIO_PIN_13) //INT van BMP
    {
    	float druk = BMP384_ReadData();
    	float hoogte = BMP384_CalculateAltitude(druk);

    	printf("BMP384 Data: \n");
    	printf("BMP druk = %f, hoogte = %f", druk, hoogte);
    	g_druk = druk;
    	g_hoogte = hoogte;
    	return;
    }
*/
	if (GPIO_Pin == GPIO_PIN_13)	//INT van BMP
    	{
			g_new_pressure_data = 1;
    		//return;
    	}
}
/* USER CODE END 4 */

 /* MPU Configuration */

void MPU_Config(void)
{
  MPU_Region_InitTypeDef MPU_InitStruct = {0};

  /* Disables the MPU */
  HAL_MPU_Disable();

  /** Initializes and configures the Region and the memory to be protected
  */
  MPU_InitStruct.Enable = MPU_REGION_ENABLE;
  MPU_InitStruct.Number = MPU_REGION_NUMBER0;
  MPU_InitStruct.BaseAddress = 0x0;
  MPU_InitStruct.Size = MPU_REGION_SIZE_4GB;
  MPU_InitStruct.SubRegionDisable = 0x87;
  MPU_InitStruct.TypeExtField = MPU_TEX_LEVEL0;
  MPU_InitStruct.AccessPermission = MPU_REGION_NO_ACCESS;
  MPU_InitStruct.DisableExec = MPU_INSTRUCTION_ACCESS_DISABLE;
  MPU_InitStruct.IsShareable = MPU_ACCESS_SHAREABLE;
  MPU_InitStruct.IsCacheable = MPU_ACCESS_NOT_CACHEABLE;
  MPU_InitStruct.IsBufferable = MPU_ACCESS_NOT_BUFFERABLE;

  HAL_MPU_ConfigRegion(&MPU_InitStruct);
  /* Enables the MPU */
  HAL_MPU_Enable(MPU_PRIVILEGED_DEFAULT);

}

void Error_Handler(void)
{
  __disable_irq();
  while (1)
  {
  }
}
